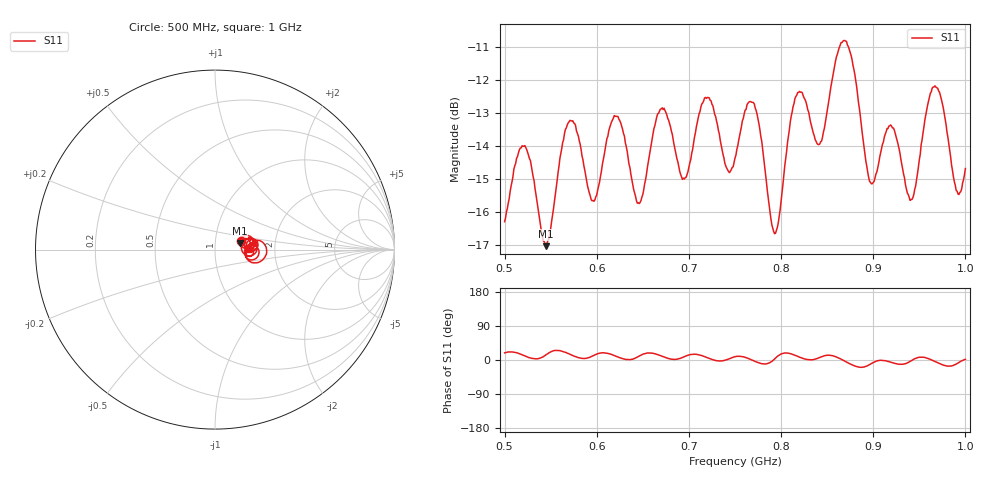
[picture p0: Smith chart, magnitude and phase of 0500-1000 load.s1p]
! NanoVNA-App by SYSJOINT et al v1.1.209 (+OD18)
! Date: 2025-09-17 10:09:25
! Start: 500MHz Stop: 1GHz Points: 501
! S-Parameter data: F S11
# Hz S RI R 50
!  Frequency  S11_Real  S11_Imag
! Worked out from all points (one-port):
!   501 points, 500 MHz to 1 GHz, reference 50 ohm
!   lowest |S11| = -17.0 dB at 545 MHz (marker M1), VSWR 1.33, Z = 65.6 + j4.56 ohm
!   |S11| at or under -10 dB: start of sweep to end of sweep
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5e8  0.1451 0.0494
5.21e8  0.1951 0.041
5.45e8  0.1366 0.034
5.63e8  0.1865 0.0778
5.75e8  0.2125 0.0399
5.96e8  0.1619 0.0321
6.25e8  0.2168 0.0227
6.45e8  0.1618 0.0253
6.69e8  0.2221 0.0461
6.88e8  0.1886 0.00874
6.97e8  0.1758 0.0335
7.19e8  0.2338 0.0289
7.41e8  0.1848 0.00201
7.5e8  0.1892 0.0286
7.7e8  0.2321 -0.00713
7.94e8  0.1468 0.0125
8.13e8  0.2218 0.0568
8.22e8  0.2396 0.0242
8.42e8  0.1996 0.0238
8.57e8  0.2547 0.0475
8.75e8  0.2721 -0.0502
8.97e8  0.1725 -0.034
9.19e8  0.2136 -0.022
9.38e8  0.1674 -0.0191
9.53e8  0.2022 0.0261
9.66e8  0.2449 -0.0122
9.91e8  0.1683 -0.0273
1e9  0.1844 0.00548
